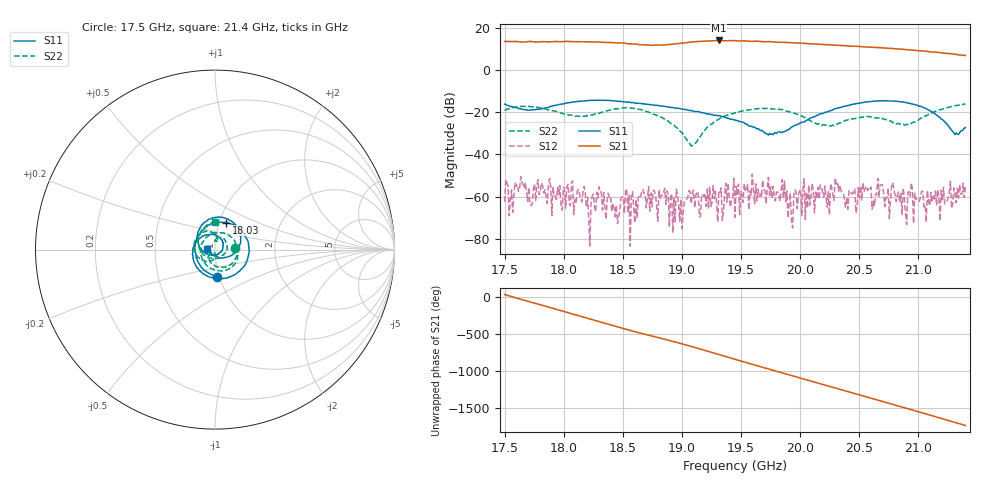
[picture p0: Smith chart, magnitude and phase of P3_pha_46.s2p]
!Created with skrf (http://scikit-rf.org).
# GHz S RI R 50.0
!freq ReS11 ImS11 ReS21 ImS21 ReS12 ImS12 ReS22 ImS22
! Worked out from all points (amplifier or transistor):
!   401 points, 17.5 GHz to 21.4 GHz, reference 50 ohm
!   highest |S21| = 13.9 dB at 19.31 GHz (marker M1)
!   |S21| within 3 dB of that: start of sweep to 20.53 GHz
!   unconditionally stable (mu >= 1): start of sweep to end of sweep
!   at 18.14 GHz: K = 111.56, MAG = 13.5 dB, |S12| = -60.6 dB
!   at 19.45 GHz: K = 312.05, MAG = 13.9 dB, |S12| = -69.8 dB
!   at 21.4 GHz: K = 132.81, MAG = 6.9 dB, |S12| = -55.5 dB
!   S11 on the Smith chart (normalised r, x): 17.5 GHz: 0.98, -0.31; 18.03 GHz: 1.08, +0.33; 21.4 GHz: 0.92, +0.01
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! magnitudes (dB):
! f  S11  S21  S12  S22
! 17.5 GHz  -16.3  13.4  -62.5  -19.2
! 18.03 GHz  -15.8  13.5  -55.4  -21.2
! 18.15 GHz  -14.8  13.3  -62.5  -21.8
! 18.21 GHz  -14.5  13.2  -69.4  -21.5
! 18.3 GHz  -14.4  13.1  -55.4  -20.6
! 18.46 GHz  -15.0  12.7  -72.9  -18.5
! 18.51 GHz  -15.1  12.6  -68.0  -18.0
! 18.81 GHz  -17.0  11.7  -56.8  -22.1
! 18.99 GHz  -18.5  12.5  -61.4  -29.4
! 19.09 GHz  -19.5  13.2  -58.4  -35.8
! 19.31 GHz  -21.8  13.9  -57.3  -23.4
! 19.45 GHz  -23.8  13.8  -69.8  -20.3
! 19.87 GHz  -29.3  12.9  -52.7  -19.1
! 19.92 GHz  -27.7  12.8  -58.3  -20.1
! 19.98 GHz  -26.0  12.7  -65.7  -21.0
! 20.1 GHz  -22.5  12.3  -53.7  -24.7
! 20.32 GHz  -18.2  11.6  -53.3  -25.7
! 20.39 GHz  -17.2  11.4  -65.2  -23.9
! 20.63 GHz  -14.8  10.6  -64.7  -22.8
! 20.68 GHz  -14.7  10.4  -54.5  -22.9
! 20.76 GHz  -14.8  10.2  -70.4  -24.2
! 21.4 GHz  -27.4  6.8  -55.5  -16.2
